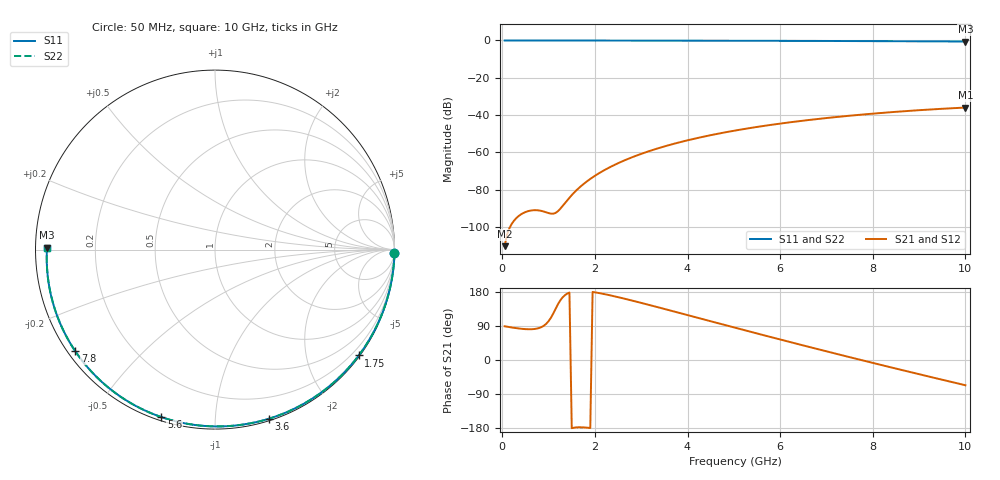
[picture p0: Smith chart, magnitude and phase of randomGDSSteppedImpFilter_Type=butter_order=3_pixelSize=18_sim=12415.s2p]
! freq	dB(S11)	phase(S11)	dB(S12)	phase(S12)
!  dB(S21)	phase(S21)	dB(S22)	phase(S22)
!S-par simulation data
#  GHz  S  DB  R 50
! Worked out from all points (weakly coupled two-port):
!   200 points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, 50 MHz to 10 GHz, reference 50 ohm
!   highest |S21| = -35.97 dB at 10 GHz (marker M1); lowest = -110.3 dB at 50 MHz (marker M2)
!   lowest |S11| = -0.6 dB at 10 GHz (marker M3), VSWR 30.20, Z = 1.66 + j0.288 ohm
!   |S11| at or under -10 dB: nowhere
!   |S22| runs from -0.6 to 0.0 dB; largest |S21 - S12| = 0
!   S11 on the Smith chart (normalised r, x): 50 MHz: open; 1.75 GHz: 0.03, -3.04; 3.6 GHz: 0.02, -1.37; 5.6 GHz: 0.02, -0.73; 7.8 GHz: 0.02, -0.33; 10 GHz: 0.03, +0.01
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0.05  -0.00 -1.1  -110.28 88.9  -110.28 88.9  -0.00 -1.1
0.4  -0.01 -8.5  -93.28 82.5  -93.28 82.5  -0.01 -8.5
0.8  -0.02 -16.8  -91.16 84.6  -91.16 84.6  -0.02 -16.8
1.6  -0.04 -33.3  -80.34 -177.9  -80.34 -177.9  -0.04 -33.3
1.75  -0.05 -36.4  -77.05 -177.7  -77.05 -177.7  -0.05 -36.4
1.9  -0.05 -39.4  -74.23 -179.5  -74.23 -179.5  -0.05 -39.4
2.05  -0.05 -42.4  -71.76 177.6  -71.76 177.6  -0.05 -42.4
2.25  -0.06 -46.4  -68.89 172.8  -68.89 172.8  -0.06 -46.4
2.45  -0.06 -50.3  -66.39 167.3  -66.39 167.3  -0.06 -50.3
2.9  -0.08 -59.1  -61.69 153.9  -61.69 153.9  -0.08 -59.1
3.4  -0.09 -68.6  -57.54 138.0  -57.54 138.0  -0.09 -68.6
3.6  -0.10 -72.3  -56.10 131.5  -56.10 131.5  -0.10 -72.3
4.3  -0.12 -85.1  -51.82 108.8  -51.82 108.8  -0.12 -85.1
5.05  -0.15 -98.4  -48.19 84.5  -48.19 84.5  -0.15 -98.3
5.6  -0.18 -107.8  -45.98 66.8  -45.98 66.8  -0.18 -107.8
6.15  -0.21 -117.0  -44.07 49.4  -44.07 49.4  -0.21 -117.0
6.7  -0.24 -126.1  -42.41 32.1  -42.41 32.1  -0.24 -126.1
7.25  -0.28 -135.0  -40.95 15.1  -40.95 15.1  -0.28 -135.0
7.8  -0.33 -144.0  -39.66 -1.6  -39.66 -1.6  -0.33 -144.0
8.35  -0.38 -152.9  -38.54 -18.2  -38.54 -18.2  -0.38 -152.9
9.2  -0.48 -167.0  -37.07 -43.4  -37.07 -43.4  -0.48 -167.0
10  -0.58 179.3  -35.97 -66.6  -35.97 -66.6  -0.58 179.3
